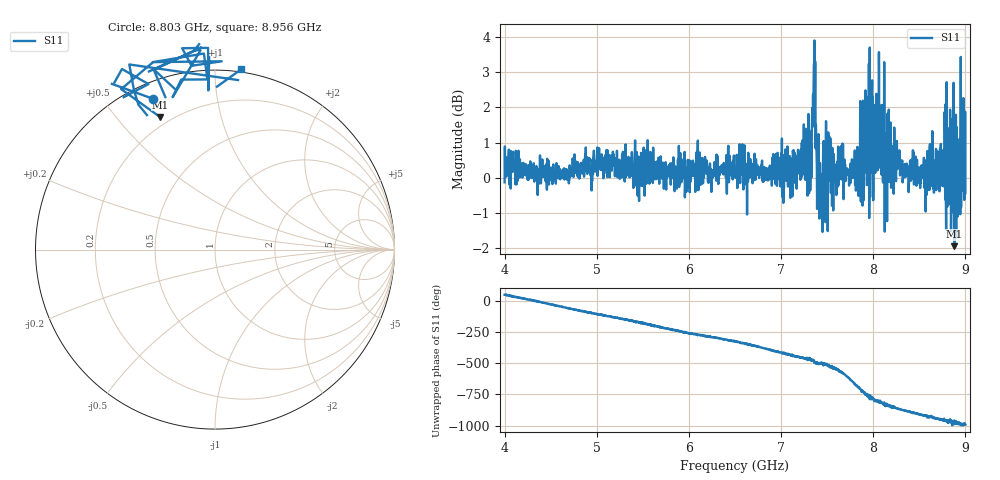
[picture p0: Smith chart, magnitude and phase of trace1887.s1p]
! Created with skrf 1.8.0 (http://scikit-rf.org).
# Hz S RI R 50.0
!freq ReS11 ImS11
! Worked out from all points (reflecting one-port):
!   1601 points, 4 GHz to 9 GHz, reference 50 ohm
!   lowest |S11| = -1.9 dB at 8.881 GHz (marker M1), VSWR 9.00, Z = 7.99 + j32.8 ohm
!   phase of S11 starts at 51 deg and turns -1042 deg over the sweep
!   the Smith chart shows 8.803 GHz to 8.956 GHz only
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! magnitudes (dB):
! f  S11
! 4 GHz  -0.1
! 4.025 GHz  0.6
! 4.625 GHz  0.0
! 5.25 GHz  0.0
! 5.875 GHz  0.2
! 6.5 GHz  0.1
! 7.125 GHz  0.3
! 7.306 GHz  1.3
! 7.356 GHz  3.2
! 7.381 GHz  1.1
! 7.4 GHz  0.3
! 7.428 GHz  0.1
! 7.512 GHz  1.3
! 7.591 GHz  0.1
! 7.65 GHz  0.9
! 7.75 GHz  0.0
! 7.888 GHz  2.2
! 7.938 GHz  0.2
! 7.956 GHz  -1.1
! 7.962 GHz  3.7
! 8.056 GHz  1.1
! 8.15 GHz  -1.2
! 8.178 GHz  1.5
! 8.375 GHz  0.2
! 8.578 GHz  0.5
! 8.881 GHz  -1.9
! 8.972 GHz  1.0
! 9 GHz  -0.4
